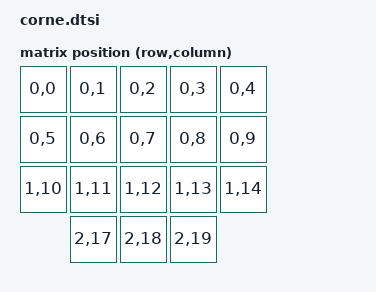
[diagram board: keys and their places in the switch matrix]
/*
 * Copyright (c) 2020 Pete Johanson
 *
 * SPDX-License-Identifier: MIT
 */

#include <dt-bindings/zmk/matrix_transform.h>

/ {
	chosen {
		zephyr,display = &oled;
		zmk,kscan = &kscan0;
		zmk,matrix_transform = &default_transform;
	};

	default_transform: keymap_transform_0 {
		compatible = "zmk,matrix-transform";
		columns = <5>;
		rows = <4>;
// Left-hand side key mapping (mirrored for right-hand side)
// | SW1  | SW2  | SW3  | SW4  | SW5  |
// | SW6  | SW7  | SW8  | SW9  | SW10 |
// | SW11 | SW12 | SW13 | SW14 | SW15 |
//         | SW16 | SW17 | SW18 |
		map = <
RC(0,0) RC(0,1) RC(0,2) RC(0,3) RC(0,4)  // Row 0
RC(0,5) RC(0,6) RC(0,7) RC(0,8) RC(0,9)  // Row 1
RC(1,10) RC(1,11) RC(1,12) RC(1,13) RC(1,14)  // Row 2
       RC(2,17) RC(2,18) RC(2,19)            // Row 3 (last row with 3 keys)
		>;
	};
};
